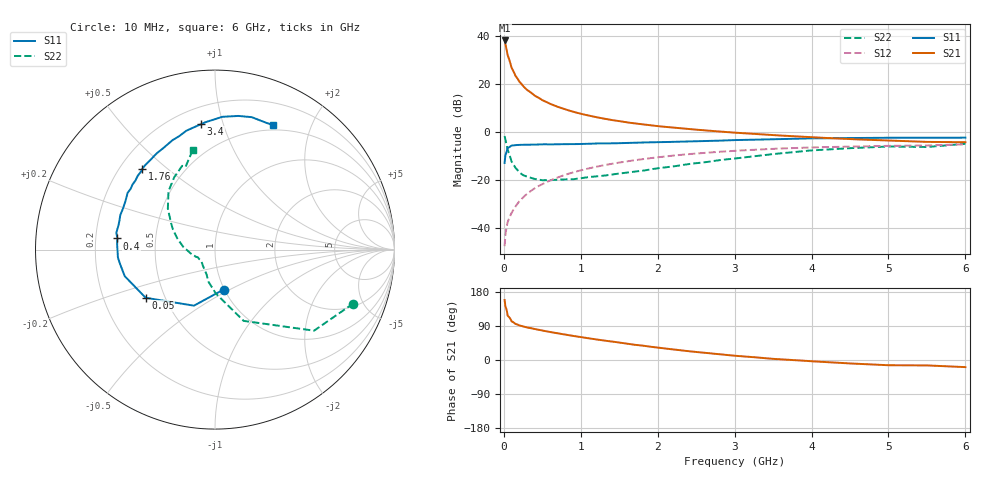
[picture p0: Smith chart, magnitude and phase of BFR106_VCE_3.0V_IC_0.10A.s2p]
! Infineon Technologies  Discrete & RF Semiconductors
! BFR106
! VCE =  3.0 V,  IC = 0.10 A
! Common Emitter S-Parameters:  Nov 2015
# GHz  S  MA  R  50
!  f  S11  S21  S12  S22
! GHz  MAG  ANG  MAG  ANG  MAG  ANG  MAG  ANG
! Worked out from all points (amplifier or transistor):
!   210 points, 10 MHz to 6 GHz, reference 50 ohm
!   highest |S21| = 38.2 dB at 10 MHz (marker M1)
!   |S21| within 3 dB of that: start of sweep to 30.62 MHz
!   unconditionally stable (mu >= 1): 145.5 MHz to 2.863 GHz; 5.098 GHz to end of sweep
!   at 185 MHz: K = 1.03, MAG = 24.6 dB, |S12| = -29.5 dB
!   at 1.52 GHz: K = 1.07, MAG = 6.9 dB, |S12| = -12.6 dB
!   at 6 GHz: K = 1.01, MAG = -0.1 dB, |S12| = -5.1 dB
!   S11 on the Smith chart (normalised r, x): 10 MHz: 0.99, -0.47; 50 MHz: 0.39, -0.27; 400 MHz: 0.29, +0.05; 1.76 GHz: 0.29, +0.41; 3.4 GHz: 0.31, +0.85; 6 GHz: 0.44, +1.48
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0.01  0.2279 -78.0  81.11 158.2  0.0042 74.9  0.8269 -21.3
0.02  0.3337 -110.6  68.62 141.9  0.0072 70.0  0.7132 -39.3
0.05  0.4704 -145.2  39.91 116.8  0.0133 60.2  0.428 -68.1
0.1  0.5242 -163.6  22.02 102.1  0.0206 66.1  0.2447 -88.9
0.15  0.5353 -171.5  14.99 95.4  0.0279 69.3  0.1815 -101.9
0.2  0.5427 -175.4  11.38 91.4  0.0358 72.1  0.1465 -108.6
0.24  0.5431 -178.4  9.56 89.0  0.0418 72.7  0.1301 -115.5
0.26  0.5439 -179.8  8.811 87.8  0.0449 72.9  0.1247 -118.5
0.3  0.5458 178.0  7.623 85.9  0.0514 73.4  0.1183 -122.8
0.4  0.5478 173.5  5.773 81.7  0.0671 74.0  0.1056 -132.5
0.5  0.5576 170.3  4.638 77.7  0.0822 73.6  0.0994 -139.2
0.6  0.554 166.2  3.891 73.9  0.098 72.5  0.0994 -143.4
0.8  0.5615 160.1  2.957 66.9  0.1293 70.0  0.1037 -152.2
1.02  0.5659 152.4  2.367 59.9  0.1625 67.0  0.1104 -158.0
1.3  0.5792 144.2  1.906 51.4  0.2039 62.5  0.1235 -166.2
1.76  0.6042 132.0  1.48 38.9  0.267 55.0  0.1537 -178.3
2.02  0.6155 125.7  1.32 32.3  0.3009 50.6  0.178 174.9
3.1  0.6858 101.7  0.951 9.8  0.416 32.7  0.2937 147.3
3.4  0.7037 96.3  0.884 4.8  0.4413 28.1  0.3339 140.8
4.1  0.7433 85.4  0.767 -4.4  0.4838 17.7  0.4239 126.6
5.1  0.7642 73.3  0.659 -13.9  0.5183 5.5  0.4988 111.0
6  0.7658 64.9  0.616 -18.8  0.5572 -3.7  0.5702 102.5
